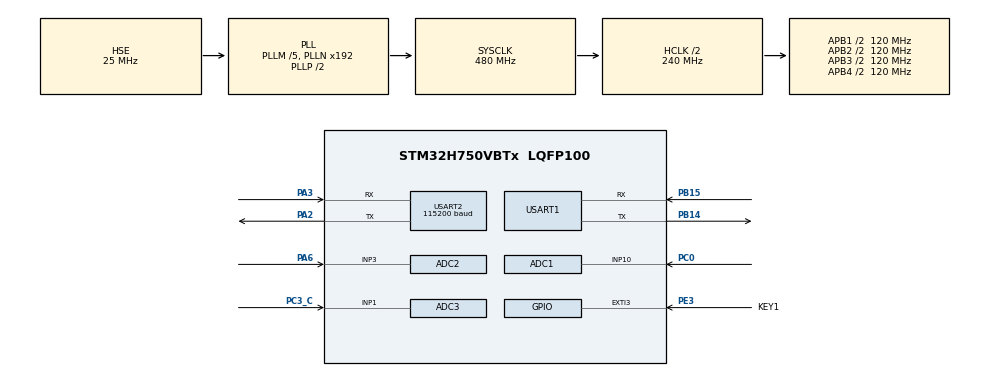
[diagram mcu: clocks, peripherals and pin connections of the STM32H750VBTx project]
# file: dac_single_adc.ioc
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ADC1.Channel-0\#ChannelRegularConversion=ADC_CHANNEL_10
ADC1.ConversionDataManagement=ADC_CONVERSIONDATA_DMA_CIRCULAR
ADC1.ExternalTrigConv=ADC_EXTERNALTRIG_T15_TRGO
ADC1.NbrOfConversionFlag=1
ADC1.OffsetNumber-0\#ChannelRegularConversion=ADC_OFFSET_NONE
ADC1.OffsetSignedSaturation-0\#ChannelRegularConversion=DISABLE
ADC1.Rank-0\#ChannelRegularConversion=1
ADC1.SamplingTime-0\#ChannelRegularConversion=ADC_SAMPLETIME_1CYCLE_5
ADC1.master=1
ADC2.Channel-0\#ChannelRegularConversion=ADC_CHANNEL_3
ADC2.ConversionDataManagement=ADC_CONVERSIONDATA_DMA_CIRCULAR
ADC2.ExternalTrigConv=ADC_EXTERNALTRIG_T4_TRGO
ADC2.ExternalTrigConvEdge=ADC_EXTERNALTRIGCONVEDGE_RISING
ADC2.NbrOfConversionFlag=1
ADC2.OffsetNumber-0\#ChannelRegularConversion=ADC_OFFSET_NONE
ADC2.OffsetSignedSaturation-0\#ChannelRegularConversion=DISABLE
ADC2.Rank-0\#ChannelRegularConversion=1
ADC2.SamplingTime-0\#ChannelRegularConversion=ADC_SAMPLETIME_1CYCLE_5
ADC3.Channel-0\#ChannelRegularConversion=ADC_CHANNEL_1
ADC3.ConversionDataManagement=ADC_CONVERSIONDATA_DMA_CIRCULAR
ADC3.ExternalTrigConv=ADC_EXTERNALTRIG_T1_TRGO
ADC3.ExternalTrigConvEdge=ADC_EXTERNALTRIGCONVEDGE_RISING
ADC3.NbrOfConversionFlag=1
ADC3.OffsetNumber-0\#ChannelRegularConversion=ADC_OFFSET_NONE
ADC3.OffsetSignedSaturation-0\#ChannelRegularConversion=DISABLE
ADC3.Rank-0\#ChannelRegularConversion=1
ADC3.SamplingTime-0\#ChannelRegularConversion=ADC_SAMPLETIME_1CYCLE_5
CORTEX_M7.AccessPermission-Cortex_Memory_Protection_Unit_Region0_Settings=MPU_REGION_FULL_ACCESS
CORTEX_M7.AccessPermission-Cortex_Memory_Protection_Unit_Region1_Settings=MPU_REGION_FULL_ACCESS
CORTEX_M7.AccessPermission-Cortex_Memory_Protection_Unit_Region2_Settings=MPU_REGION_FULL_ACCESS
CORTEX_M7.AccessPermission-Cortex_Memory_Protection_Unit_Region3_Settings=MPU_REGION_FULL_ACCESS
CORTEX_M7.AccessPermission-Cortex_Memory_Protection_Unit_Region4_Settings=MPU_REGION_FULL_ACCESS
CORTEX_M7.BaseAddress-Cortex_Memory_Protection_Unit_Region0_Settings=0x24000000
CORTEX_M7.BaseAddress-Cortex_Memory_Protection_Unit_Region1_Settings=0x30000000
CORTEX_M7.BaseAddress-Cortex_Memory_Protection_Unit_Region2_Settings=0x30020000
CORTEX_M7.BaseAddress-Cortex_Memory_Protection_Unit_Region3_Settings=0x30040000
CORTEX_M7.BaseAddress-Cortex_Memory_Protection_Unit_Region4_Settings=0x38000000
CORTEX_M7.CPU_DCache=Enabled
CORTEX_M7.CPU_ICache=Enabled
CORTEX_M7.Enable-Cortex_Memory_Protection_Unit_Region0_Settings=MPU_REGION_ENABLE
CORTEX_M7.Enable-Cortex_Memory_Protection_Unit_Region1_Settings=MPU_REGION_ENABLE
CORTEX_M7.Enable-Cortex_Memory_Protection_Unit_Region2_Settings=MPU_REGION_ENABLE
CORTEX_M7.Enable-Cortex_Memory_Protection_Unit_Region3_Settings=MPU_REGION_ENABLE
CORTEX_M7.Enable-Cortex_Memory_Protection_Unit_Region4_Settings=MPU_REGION_ENABLE
CORTEX_M7.IsBufferable-Cortex_Memory_Protection_Unit_Region0_Settings=MPU_ACCESS_BUFFERABLE
CORTEX_M7.IsCacheable-Cortex_Memory_Protection_Unit_Region0_Settings=MPU_ACCESS_CACHEABLE
CORTEX_M7.MPU_Control=MPU_PRIVILEGED_DEFAULT
CORTEX_M7.Size-Cortex_Memory_Protection_Unit_Region0_Settings=MPU_REGION_SIZE_512KB
CORTEX_M7.Size-Cortex_Memory_Protection_Unit_Region1_Settings=MPU_REGION_SIZE_128KB
CORTEX_M7.Size-Cortex_Memory_Protection_Unit_Region2_Settings=MPU_REGION_SIZE_128KB
CORTEX_M7.Size-Cortex_Memory_Protection_Unit_Region3_Settings=MPU_REGION_SIZE_32KB
CORTEX_M7.Size-Cortex_Memory_Protection_Unit_Region4_Settings=MPU_REGION_SIZE_64KB
CORTEX_M7.TypeExtField-Cortex_Memory_Protection_Unit_Region0_Settings=MPU_TEX_LEVEL1
CORTEX_M7.TypeExtField-Cortex_Memory_Protection_Unit_Region1_Settings=MPU_TEX_LEVEL1
CORTEX_M7.TypeExtField-Cortex_Memory_Protection_Unit_Region2_Settings=MPU_TEX_LEVEL1
CORTEX_M7.TypeExtField-Cortex_Memory_Protection_Unit_Region3_Settings=MPU_TEX_LEVEL1
CORTEX_M7.TypeExtField-Cortex_Memory_Protection_Unit_Region4_Settings=MPU_TEX_LEVEL1
Dma.ADC1.0.Direction=DMA_PERIPH_TO_MEMORY
Dma.ADC1.0.EventEnable=DISABLE
Dma.ADC1.0.FIFOMode=DMA_FIFOMODE_DISABLE
Dma.ADC1.0.Instance=DMA1_Stream0
Dma.ADC1.0.MemDataAlignment=DMA_MDATAALIGN_HALFWORD
Dma.ADC1.0.MemInc=DMA_MINC_ENABLE
Dma.ADC1.0.Mode=DMA_NORMAL
Dma.ADC1.0.PeriphDataAlignment=DMA_PDATAALIGN_HALFWORD
Dma.ADC1.0.PeriphInc=DMA_PINC_DISABLE
Dma.ADC1.0.Polarity=HAL_DMAMUX_REQ_GEN_RISING
Dma.ADC1.0.Priority=DMA_PRIORITY_LOW
Dma.ADC1.0.RequestNumber=1
Dma.ADC1.0.SignalID=NONE
Dma.ADC1.0.SyncEnable=DISABLE
Dma.ADC1.0.SyncPolarity=HAL_DMAMUX_SYNC_NO_EVENT
Dma.ADC1.0.SyncRequestNumber=1
Dma.ADC1.0.SyncSignalID=NONE
Dma.ADC2.1.Direction=DMA_PERIPH_TO_MEMORY
Dma.ADC2.1.EventEnable=DISABLE
Dma.ADC2.1.FIFOMode=DMA_FIFOMODE_DISABLE
Dma.ADC2.1.Instance=DMA1_Stream1
Dma.ADC2.1.MemDataAlignment=DMA_MDATAALIGN_HALFWORD
Dma.ADC2.1.MemInc=DMA_MINC_ENABLE
Dma.ADC2.1.Mode=DMA_NORMAL
Dma.ADC2.1.PeriphDataAlignment=DMA_PDATAALIGN_HALFWORD
Dma.ADC2.1.PeriphInc=DMA_PINC_DISABLE
Dma.ADC2.1.Polarity=HAL_DMAMUX_REQ_GEN_RISING
Dma.ADC2.1.Priority=DMA_PRIORITY_LOW
Dma.ADC2.1.RequestNumber=1
Dma.ADC2.1.SignalID=NONE
Dma.ADC2.1.SyncEnable=DISABLE
Dma.ADC2.1.SyncPolarity=HAL_DMAMUX_SYNC_NO_EVENT
Dma.ADC2.1.SyncRequestNumber=1
Dma.ADC2.1.SyncSignalID=NONE
Dma.ADC3.2.Direction=DMA_PERIPH_TO_MEMORY
Dma.ADC3.2.EventEnable=DISABLE
Dma.ADC3.2.FIFOMode=DMA_FIFOMODE_DISABLE
Dma.ADC3.2.Instance=DMA1_Stream2
Dma.ADC3.2.MemDataAlignment=DMA_MDATAALIGN_HALFWORD
Dma.ADC3.2.MemInc=DMA_MINC_ENABLE
Dma.ADC3.2.Mode=DMA_NORMAL
Dma.ADC3.2.PeriphDataAlignment=DMA_PDATAALIGN_HALFWORD
Dma.ADC3.2.PeriphInc=DMA_PINC_DISABLE
Dma.ADC3.2.Polarity=HAL_DMAMUX_REQ_GEN_RISING
Dma.ADC3.2.Priority=DMA_PRIORITY_LOW
Dma.ADC3.2.RequestNumber=1
Dma.ADC3.2.SignalID=NONE
Dma.ADC3.2.SyncEnable=DISABLE
Dma.ADC3.2.SyncPolarity=HAL_DMAMUX_SYNC_NO_EVENT
Dma.ADC3.2.SyncRequestNumber=1
Dma.ADC3.2.SyncSignalID=NONE
Dma.Request0=ADC1
Dma.Request1=ADC2
Dma.Request2=ADC3
Mcu.Family=STM32H7
Mcu.Name=STM32H750VBTx
Mcu.Package=LQFP100
NVIC.DMA1_Stream0_IRQn=true\:0\:0\:false\:false\:true\:false\:true\:true
NVIC.DMA1_Stream1_IRQn=true\:0\:0\:false\:false\:true\:false\:true\:true
NVIC.DMA1_Stream2_IRQn=true\:0\:0\:false\:false\:true\:false\:true\:true
NVIC.EXTI3_IRQn=true\:0\:0\:true\:false\:true\:true\:true\:true
NVIC.PriorityGroup=NVIC_PRIORITYGROUP_4
NVIC.USART1_IRQn=true\:0\:0\:false\:false\:true\:true\:true\:true
PA13\ (JTMS/SWDIO).Mode=Serial_Wire
PA13\ (JTMS/SWDIO).Signal=DEBUG_JTMS-SWDIO
PA14\ (JTCK/SWCLK).Mode=Serial_Wire
PA14\ (JTCK/SWCLK).Signal=DEBUG_JTCK-SWCLK
PA2.Mode=Asynchronous
PA2.Signal=USART2_TX
PA3.Mode=Asynchronous
PA3.Signal=USART2_RX
PA6.Signal=ADCx_INP3
PB14.Mode=Asynchronous
PB14.Signal=USART1_TX
PB15.Mode=Asynchronous
PB15.Signal=USART1_RX
PC0.Signal=ADCx_INP10
PC3_C.Mode=IN1-Single-Ended
PC3_C.Signal=ADC3_INP1
PE3.GPIO_Label=KEY1
PE3.GPIO_ModeDefaultEXTI=GPIO_MODE_IT_FALLING
PE3.GPIO_PuPd=GPIO_PULLUP
PE3.Signal=GPXTI3
PH0-OSC_IN\ (PH0).Mode=HSE-External-Oscillator
PH0-OSC_IN\ (PH0).Signal=RCC_OSC_IN
PH1-OSC_OUT\ (PH1).Mode=HSE-External-Oscillator
PH1-OSC_OUT\ (PH1).Signal=RCC_OSC_OUT
ProjectManager.HeapSize=0x200
ProjectManager.StackSize=0x7400
ProjectManager.TargetToolchain=MDK-ARM V5.32
RCC.ADCFreq_Value=72000000
RCC.APB1Freq_Value=120000000
RCC.APB2Freq_Value=120000000
RCC.APB3Freq_Value=120000000
RCC.APB4Freq_Value=120000000
RCC.CortexFreq_Value=480000000
RCC.D1PPRE=RCC_APB3_DIV2
RCC.D2PPRE1=RCC_APB1_DIV2
RCC.D2PPRE2=RCC_APB2_DIV2
RCC.D3PPRE=RCC_APB4_DIV2
RCC.DIVM1=5
RCC.DIVM2=25
RCC.DIVN1=192
RCC.DIVN2=360
RCC.DIVP2=5
RCC.HCLKFreq_Value=240000000
RCC.HPRE=RCC_HCLK_DIV2
RCC.PLLSourceVirtual=RCC_PLLSOURCE_HSE
RCC.ProductRev=revV
RCC.SYSCLKFreq_VALUE=480000000
RCC.SYSCLKSource=RCC_SYSCLKSOURCE_PLLCLK
RCC.USBFreq_Value=480000000
SH.ADCx_INP10.0=ADC1_INP10,IN10-Single-Ended
SH.ADCx_INP3.0=ADC2_INP3,IN3-Single-Ended
TIM1.Period=80-1
TIM1.Prescaler=1-1
TIM1.TIM_MasterOutputTrigger=TIM_TRGO_UPDATE
TIM15.Period=80-1
TIM15.Prescaler=1-1
TIM15.TIM_MasterOutputTrigger=TIM_TRGO_UPDATE
TIM4.Period=80-1
TIM4.Prescaler=1-1
TIM4.TIM_MasterOutputTrigger=TIM_TRGO_UPDATE
TIM7.Prescaler=239
USART1.VirtualMode-Asynchronous=VM_ASYNC
USART2.BaudRate=115200
USART2.VirtualMode-Asynchronous=VM_ASYNC
VP_TIM15_VS_ClockSourceINT.Mode=Internal
VP_TIM1_VS_ClockSourceINT.Mode=Internal
VP_TIM4_VS_ClockSourceINT.Mode=Internal
VP_TIM7_VS_ClockSourceINT.Mode=Enable_Timer
board=custom

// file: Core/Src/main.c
/* USER CODE BEGIN Header */
/**
  ******************************************************************************
  * @file           : main.c
  * @brief          : Main program body
  ******************************************************************************
  * @attention
  *
  * Copyright (c) 2023 STMicroelectronics.
  * All rights reserved.
  *
  * This software is licensed under terms that can be found in the LICENSE file
  * in the root directory of this software component.
  * If no LICENSE file comes with this software, it is provided AS-IS.
  *
  ******************************************************************************
  */
/* USER CODE END Header */
#include "main.h"
#include "adc.h"
#include "dma.h"
#include "tim.h"
#include "usart.h"
#include "gpio.h"
#include "math_helper.h"
#include "arm_math.h"

/* USER CODE BEGIN PTD */
ALIGN_32BYTES (uint16_t adc1_data[FFT_LENGTH]) 	__attribute__((section(".ARM.__at_0x30000000")));
__IO uint8_t Adc1_ConvEnd = 0;//表示adc1采集完成
__IO uint8_t Adc2_ConvEnd = 0;//表示adc2采集完成
__IO uint8_t Adc3_ConvEnd = 0;//表示adc3采集完成

unsigned char buffer[50];
u8 RX_dat;
u8 flag=0;
uint8_t KEY_state=0;

uint16_t X[200];
uint16_t Y[200];
/* USER CODE END PTD */

void SystemClock_Config(void);
void PeriphCommonClock_Config(void);
static void MPU_Initialize(void);
static void MPU_Config(void);
/* USER CODE BEGIN PFP */

void adc1_init(void);
void adc2_init(void);
void adc3_init(void);
void FFT_and_DIS(void);
/* USER CODE END PFP */

int main(void)
{

  /* Enable I-Cache---------------------------------------------------------*/
  SCB_EnableICache();

  /* Enable D-Cache---------------------------------------------------------*/
  SCB_EnableDCache();

  /* MCU Configuration--------------------------------------------------------*/

  /* Reset of all peripherals, Initializes the Flash interface and the Systick. */
  HAL_Init();

  /* MPU Configuration--------------------------------------------------------*/
  MPU_Config();

  /* Configure the system clock */
  SystemClock_Config();

/* Configure the peripherals common clocks */
  PeriphCommonClock_Config();

  /* Initialize all configured peripherals */
  MX_GPIO_Init();
  MX_DMA_Init();
  MX_ADC1_Init();
  MX_TIM7_Init();
  MX_TIM15_Init();
  MX_USART1_UART_Init();
  MX_ADC2_Init();
  MX_ADC3_Init();
  MX_USART2_UART_Init();
  MX_TIM1_Init();
  MX_TIM4_Init();
  /* USER CODE BEGIN 2 */
	printf("start\n");
	HAL_UART_Receive_IT(&huart1,&RX_dat,1);
  /* USER CODE END 2 */

  /* Infinite loop */
  while (1)
  {

    /* USER CODE BEGIN 3 */
		if(KEY_state==1)
		{
			KEY_state=0;
			adc1_init();

			float vi_max,vi_min = 1.65;
			float voltage = 0;
			//求峰峰值
			for (u16 temp = 10 ;temp < FFT_LENGTH-10 ;temp++)
			{
				voltage = adc1_data[temp]*3.3/65535;
				if(voltage>vi_max)
				{
					vi_max = voltage;
				}
				if(voltage<vi_min)
				{
					vi_min = voltage;
				}
			}
				float	vi_pp = vi_max - vi_min;
//				printf("vi_max = %f\n",vi_max);
//				printf("vi_min = %f\n",vi_min);
//				printf("vi_pp = %f\n",vi_pp);

			//分档控制
//			if(vi_pp > 1.6)
//			{
//				printf("adc2\n");
//				adc2_init();
//				flag=1;
//			}
//			else if(vi_pp < 0.3)
//			{
//				printf("adc3\n");
//				adc3_init();
//				flag=2;
//			}
//			else
//			{
//				printf("adc1\n");
//				flag=0;
//			}
			//FFT及显示
			//			float voltage = 0;
//			for (u16 temp = 0 ;temp < FFT_LENGTH ;temp++)
//			{
//				voltage = adc1_data[temp]*3.3/65535;
//				printf("%f\r\n",voltage);
//		//		printf("%d\r\n",adc1_data[temp]);
//			}
//		FFT_Init();
//		FFT_DIS();
			FFT_and_DIS();
			switch(flag){
		case 0:printf("adc1\n");break;
		case 1:printf("adc2\n");break;
		case 2:printf("adc3\n");break;
	}
		}

  }
  /* USER CODE END 3 */
}

void SystemClock_Config(void)
{
  RCC_OscInitTypeDef RCC_OscInitStruct = {0};
  RCC_ClkInitTypeDef RCC_ClkInitStruct = {0};

  /** Supply configuration update enable
  */
  HAL_PWREx_ConfigSupply(PWR_LDO_SUPPLY);

  /** Configure the main internal regulator output voltage
  */
  __HAL_PWR_VOLTAGESCALING_CONFIG(PWR_REGULATOR_VOLTAGE_SCALE1);

  while(!__HAL_PWR_GET_FLAG(PWR_FLAG_VOSRDY)) {}

  __HAL_RCC_SYSCFG_CLK_ENABLE();
  __HAL_PWR_VOLTAGESCALING_CONFIG(PWR_REGULATOR_VOLTAGE_SCALE0);

  while(!__HAL_PWR_GET_FLAG(PWR_FLAG_VOSRDY)) {}

  /** Initializes the RCC Oscillators according to the specified parameters
  * in the RCC_OscInitTypeDef structure.
  */
  RCC_OscInitStruct.OscillatorType = RCC_OSCILLATORTYPE_HSE;
  RCC_OscInitStruct.HSEState = RCC_HSE_ON;
  RCC_OscInitStruct.PLL.PLLState = RCC_PLL_ON;
  RCC_OscInitStruct.PLL.PLLSource = RCC_PLLSOURCE_HSE;
  RCC_OscInitStruct.PLL.PLLM = 5;
  RCC_OscInitStruct.PLL.PLLN = 192;
  RCC_OscInitStruct.PLL.PLLP = 2;
  RCC_OscInitStruct.PLL.PLLQ = 2;
  RCC_OscInitStruct.PLL.PLLR = 2;
  RCC_OscInitStruct.PLL.PLLRGE = RCC_PLL1VCIRANGE_2;
  RCC_OscInitStruct.PLL.PLLVCOSEL = RCC_PLL1VCOWIDE;
  RCC_OscInitStruct.PLL.PLLFRACN = 0;
  if (HAL_RCC_OscConfig(&RCC_OscInitStruct) != HAL_OK)
  {
    Error_Handler();
  }

  /** Initializes the CPU, AHB and APB buses clocks
  */
  RCC_ClkInitStruct.ClockType = RCC_CLOCKTYPE_HCLK|RCC_CLOCKTYPE_SYSCLK
                              |RCC_CLOCKTYPE_PCLK1|RCC_CLOCKTYPE_PCLK2
                              |RCC_CLOCKTYPE_D3PCLK1|RCC_CLOCKTYPE_D1PCLK1;
  RCC_ClkInitStruct.SYSCLKSource = RCC_SYSCLKSOURCE_PLLCLK;
  RCC_ClkInitStruct.SYSCLKDivider = RCC_SYSCLK_DIV1;
  RCC_ClkInitStruct.AHBCLKDivider = RCC_HCLK_DIV2;
  RCC_ClkInitStruct.APB3CLKDivider = RCC_APB3_DIV2;
  RCC_ClkInitStruct.APB1CLKDivider = RCC_APB1_DIV2;
  RCC_ClkInitStruct.APB2CLKDivider = RCC_APB2_DIV2;
  RCC_ClkInitStruct.APB4CLKDivider = RCC_APB4_DIV2;

  if (HAL_RCC_ClockConfig(&RCC_ClkInitStruct, FLASH_LATENCY_4) != HAL_OK)
  {
    Error_Handler();
  }
}

void PeriphCommonClock_Config(void)
{
  RCC_PeriphCLKInitTypeDef PeriphClkInitStruct = {0};

  /** Initializes the peripherals clock
  */
  PeriphClkInitStruct.PeriphClockSelection = RCC_PERIPHCLK_ADC;
  PeriphClkInitStruct.PLL2.PLL2M = 25;
  PeriphClkInitStruct.PLL2.PLL2N = 360;
  PeriphClkInitStruct.PLL2.PLL2P = 5;
  PeriphClkInitStruct.PLL2.PLL2Q = 2;
  PeriphClkInitStruct.PLL2.PLL2R = 2;
  PeriphClkInitStruct.PLL2.PLL2RGE = RCC_PLL2VCIRANGE_0;
  PeriphClkInitStruct.PLL2.PLL2VCOSEL = RCC_PLL2VCOWIDE;
  PeriphClkInitStruct.PLL2.PLL2FRACN = 0;
  PeriphClkInitStruct.AdcClockSelection = RCC_ADCCLKSOURCE_PLL2;
  if (HAL_RCCEx_PeriphCLKConfig(&PeriphClkInitStruct) != HAL_OK)
  {
    Error_Handler();
  }
}

/* USER CODE BEGIN 4 */
	//ADC
void HAL_ADC_ConvCpltCallback(ADC_HandleTypeDef* hadc)
{
   if(hadc->Instance == ADC1)
	{
      //SCB_InvalidateDCache_by_Addr((uint32_t *) &adc1_data[0], ADC1_BUFFER_SIZE);
		Adc1_ConvEnd = 1;
  }

   if(hadc->Instance == ADC2)
	{
      //SCB_InvalidateDCache_by_Addr((uint32_t *) &adc1_data[0], ADC1_BUFFER_SIZE);
		Adc2_ConvEnd = 1;
  }

   if(hadc->Instance == ADC3)
	{
      //SCB_InvalidateDCache_by_Addr((uint32_t *) &adc1_data[0], ADC1_BUFFER_SIZE);
		Adc3_ConvEnd = 1;
  }

}

	//IO
void HAL_GPIO_EXTI_Callback(uint16_t GPIO_Pin)
{
	if(GPIO_Pin == KEY1_Pin)
	{
		KEY_state=1;
	}
}

	//adc校准及启动采样
void adc1_init(void)
{
	printf("start_adc1\n");
	MX_ADC1_Init();	//初始化调用放这里, 确保在MX_DMA_Init()初始化后靿
//	TIM15->PSC =5-1;
	HAL_Delay(100);	//有地方说这里可以等等电压稳定后再校准
	if (HAL_ADCEx_Calibration_Start(&hadc1, ADC_CALIB_OFFSET, ADC_SINGLE_ENDED) != HAL_OK)
	{
			printf("hadc1 error with HAL_ADCEx_Calibration_Start\r\n");
			Error_Handler();
	}

	if (HAL_ADC_Start_DMA(&hadc1, (uint32_t *)adc1_data, FFT_LENGTH) != HAL_OK)
	{
			printf("hadc1 error with HAL_ADC_Start_DMA\r\n");
			Error_Handler();
	}

	HAL_TIM_Base_Start(&htim15);
	while (!Adc1_ConvEnd);
	Adc1_ConvEnd = 0;
	HAL_ADC_DeInit(&hadc1);			//逆初始化
	HAL_TIM_Base_Stop(&htim15);
}

void adc2_init(void)
{
	printf("start_adc2\n");
	MX_ADC2_Init();	//初始化调用放这里, 确保在MX_DMA_Init()初始化后靿
//	TIM4->PSC =5-1;
	HAL_Delay(100);	//有地方说这里可以等等电压稳定后再校准
	if (HAL_ADCEx_Calibration_Start(&hadc2, ADC_CALIB_OFFSET, ADC_SINGLE_ENDED) != HAL_OK)
	{
			printf("hadc2 error with HAL_ADCEx_Calibration_Start\r\n");
			Error_Handler();
	}

	if (HAL_ADC_Start_DMA(&hadc2, (uint32_t *)adc1_data, FFT_LENGTH) != HAL_OK)
	{
			printf("hadc2 error with HAL_ADC_Start_DMA\r\n");
			Error_Handler();
	}

	HAL_TIM_Base_Start(&htim4);
	while (!Adc2_ConvEnd);
	Adc2_ConvEnd = 0;
	HAL_ADC_DeInit(&hadc2);			//逆初始化
	HAL_TIM_Base_Stop(&htim4);
}

void adc3_init(void)
{
	printf("start_adc3\n");
	MX_ADC3_Init();	//初始化调用放这里, 确保在MX_DMA_Init()初始化后靿
//	TIM6->PSC =5-1;
	HAL_Delay(100);	//有地方说这里可以等等电压稳定后再校准
	if (HAL_ADCEx_Calibration_Start(&hadc3, ADC_CALIB_OFFSET, ADC_SINGLE_ENDED) != HAL_OK)
	{
			printf("hadc3 error with HAL_ADCEx_Calibration_Start\r\n");
			Error_Handler();
	}

	if (HAL_ADC_Start_DMA(&hadc3, (uint32_t *)adc1_data, FFT_LENGTH) != HAL_OK)
	{
			printf("hadc3 error with HAL_ADC_Start_DMA\r\n");
			Error_Handler();
	}

	HAL_TIM_Base_Start(&htim1);
	while (!Adc3_ConvEnd);
	Adc3_ConvEnd = 0;
	HAL_ADC_DeInit(&hadc3);			//逆初始化
	HAL_TIM_Base_Stop(&htim1);
}

	//串口中断接收
void HAL_UART_RxCpltCallback(UART_HandleTypeDef *huart)
{
	 if(huart->Instance == USART1)
	 {
			if(RX_dat == '1')
			{
				KEY_state = 1;
				HAL_UART_Receive_IT(&huart1,&RX_dat,1);
			}
			else HAL_UART_Receive_IT(&huart1,&RX_dat,1);
	}
}

	//adc按档完成采样，对最终adc1_data进行FFT
	//显示结果
uint16_t u16LinearInterpolation(uint16_t xdata)
{
  uint32_t u32Temp;
  int i,size;

  size = sizeof(X)/2; //get the array numbers, uint16_t occupied 2 bytes.

  if (xdata <= X[0]) return Y[0];
  if (xdata >= X[size-1]) return Y[size-1];

  for (i=0; i<(size-1); i++)
  {
    if ((xdata >= X[i]) && (xdata < X[i+1])) break;
  }

  if ((xdata == X[i]) || (Y[i] == Y[i+1])) return Y[i];

  //Y(x)=[Yi*(Xi+1-x)+Yi+1*(x-Xi)]/(Xi+1-Xi)
  u32Temp = Y[i]*(X[i+1]-xdata);
  u32Temp += Y[i+1]*(xdata-X[i]);
  u32Temp /= X[i+1]-X[i];

  return (uint16_t) u32Temp;
}
void	FFT_and_DIS(void)
{
		FFT_Init();
		FFT_DIS();
		uint16_t	Point_period  =(uint16_t)(Fs/f[0]);
		u32 voltage_ = 0;
		u32 voltage_1 = 0;
		if(Point_period>200)
  	{
			TIM15->PSC =(int)(15000/f[0])-1;
			adc1_init();
			printf("cle s0.id,0\xff\xff\xff");
		for (uint16_t i = 0 ;i <= 200 ;i++)
		{
			voltage_ = adc1_data[i]*200/65536;
			printf("add s0.id,0,%d\xff\xff\xff",voltage_);
			startValuePack(buffer);
			putFloat(temp);//THD
			putFloat(adc1_data[i]);//wave
			putFloat(U[0]);//V1
			putFloat(U[1]);
			putFloat(U[2]);
			putFloat(U[3]);
			putFloat(U[4]);//V5
			sendBuffer(buffer,endValuePack());
		}
		TIM15->PSC=0;
		}
		else if(Point_period<100)
		{
			u16 del=200/Point_period-1;
			u16 j=0;
			for(u16 i=0;i<200;i++)X[i]=i;
			for(u16 i=0;i<200;i+=del)
			{
				Y[i]=adc1_data[j];
				j++;
			}
			printf("cle s0.id,0\xff\xff\xff");
			for (uint16_t i = 0 ;i < 200 ;i++)
		{
//			printf("add s0.id,0,%d\xff\xff\xff",u16LinearInterpolation(i));
				printf("%d\r\n",u16LinearInterpolation(i));
		}
	}
//			u16 delti;
//			u16 point;
//			if(Point_period>200)
//			{
//				delti=Point_period/200;
//				point=0;
//			}
//			else {
//				point=200/Point_period;
//				delti=1;
//			}
//			for (uint16_t i = 0 ;i <= Point_period ;i=i+delti)
//			{
//				voltage_ = adc1_data[i]*200/65536;
//				for(u16 j=0;j<=point;j++)
//				{
//					printf("add s0.id,0,%d\xff\xff\xff",(voltage_+adc1_data[i-1]*200/65536)/2);
//				}
//				printf("add s0.id,0,%d\xff\xff\xff",voltage_);
	//			printf("%d\r\n",adc1_data[temp]);
//			}
}

/* USER CODE END 4 */

/* MPU Configuration */

void MPU_Config(void)
{
  MPU_Region_InitTypeDef MPU_InitStruct = {0};

  /* Disables the MPU */
  HAL_MPU_Disable();

  /** Initializes and configures the Region and the memory to be protected
  */
  MPU_InitStruct.Enable = MPU_REGION_ENABLE;
  MPU_InitStruct.Number = MPU_REGION_NUMBER0;
  MPU_InitStruct.BaseAddress = 0x24000000;
  MPU_InitStruct.Size = MPU_REGION_SIZE_512KB;
  MPU_InitStruct.SubRegionDisable = 0x0;
  MPU_InitStruct.TypeExtField = MPU_TEX_LEVEL1;
  MPU_InitStruct.AccessPermission = MPU_REGION_FULL_ACCESS;
  MPU_InitStruct.DisableExec = MPU_INSTRUCTION_ACCESS_ENABLE;
  MPU_InitStruct.IsShareable = MPU_ACCESS_NOT_SHAREABLE;
  MPU_InitStruct.IsCacheable = MPU_ACCESS_CACHEABLE;
  MPU_InitStruct.IsBufferable = MPU_ACCESS_BUFFERABLE;

  HAL_MPU_ConfigRegion(&MPU_InitStruct);

  /** Initializes and configures the Region and the memory to be protected
  */
  MPU_InitStruct.Number = MPU_REGION_NUMBER1;
  MPU_InitStruct.BaseAddress = 0x30000000;
  MPU_InitStruct.Size = MPU_REGION_SIZE_128KB;
  MPU_InitStruct.IsCacheable = MPU_ACCESS_NOT_CACHEABLE;
  MPU_InitStruct.IsBufferable = MPU_ACCESS_NOT_BUFFERABLE;

  HAL_MPU_ConfigRegion(&MPU_InitStruct);

  /** Initializes and configures the Region and the memory to be protected
  */
  MPU_InitStruct.Number = MPU_REGION_NUMBER2;
  MPU_InitStruct.BaseAddress = 0x30020000;

  HAL_MPU_ConfigRegion(&MPU_InitStruct);

  /** Initializes and configures the Region and the memory to be protected
  */
  MPU_InitStruct.Number = MPU_REGION_NUMBER3;
  MPU_InitStruct.BaseAddress = 0x30040000;
  MPU_InitStruct.Size = MPU_REGION_SIZE_32KB;

  HAL_MPU_ConfigRegion(&MPU_InitStruct);

  /** Initializes and configures the Region and the memory to be protected
  */
  MPU_InitStruct.Number = MPU_REGION_NUMBER4;
  MPU_InitStruct.BaseAddress = 0x38000000;
  MPU_InitStruct.Size = MPU_REGION_SIZE_64KB;

  HAL_MPU_ConfigRegion(&MPU_InitStruct);
  /* Enables the MPU */
  HAL_MPU_Enable(MPU_PRIVILEGED_DEFAULT);

}

void Error_Handler(void)
{
  __disable_irq();
  while (1)
  {
  }
}
